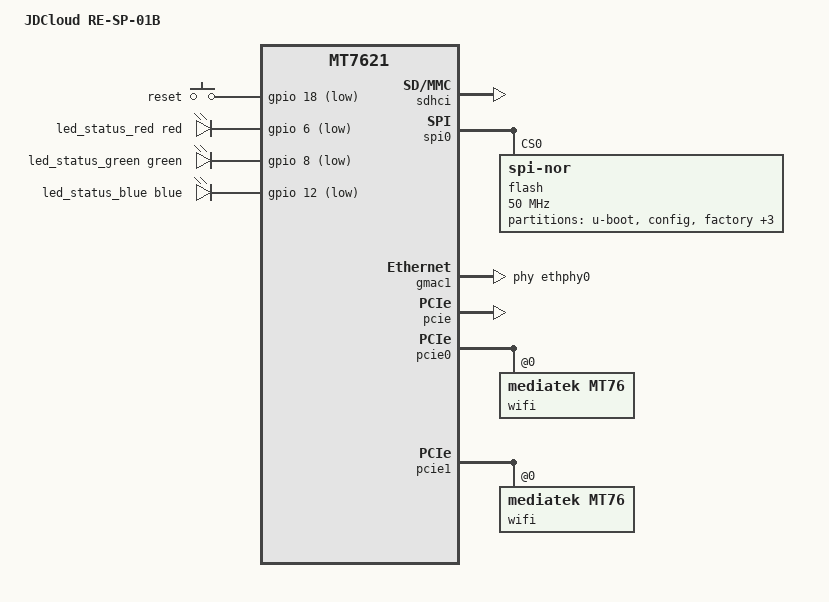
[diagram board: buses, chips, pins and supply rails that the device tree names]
// SPDX-License-Identifier: GPL-2.0-or-later OR MIT

#include "mt7621.dtsi"

#include <dt-bindings/gpio/gpio.h>
#include <dt-bindings/input/input.h>
#include <dt-bindings/leds/common.h>

/ {
	compatible = "jdcloud,re-sp-01b", "mediatek,mt7621-soc";
	model = "JDCloud RE-SP-01B";

	aliases {
		led-boot = &led_status_red;
		led-failsafe = &led_status_red;
		led-running = &led_status_green;
		led-upgrade = &led_status_blue;
	};

	chosen {
		bootargs = "console=ttyS0,115200";
	};

	keys {
		compatible = "gpio-keys";

		reset {
			label = "reset";
			gpios = <&gpio 18 GPIO_ACTIVE_LOW>;
			linux,code = <KEY_RESTART>;
		};
	};

	leds {
		compatible = "gpio-leds";

		led_status_red: led-red {
			function = LED_FUNCTION_STATUS;
			color = <LED_COLOR_ID_RED>;
			gpios = <&gpio 6 GPIO_ACTIVE_LOW>;
		};

		led_status_green: led-green {
			function = LED_FUNCTION_STATUS;
			color = <LED_COLOR_ID_GREEN>;
			gpios = <&gpio 8 GPIO_ACTIVE_LOW>;
		};

		led_status_blue: led-blue {
			function = LED_FUNCTION_STATUS;
			color = <LED_COLOR_ID_BLUE>;
			gpios = <&gpio 12 GPIO_ACTIVE_LOW>;
		};
	};
};

&sdhci {
	status = "okay";
};

&spi0 {
	status = "okay";

	flash@0 {
		compatible = "jedec,spi-nor";
		reg = <0>;
		spi-max-frequency = <50000000>;

		partitions {
			compatible = "fixed-partitions";
			#address-cells = <1>;
			#size-cells = <1>;

			partition@0 {
				label = "u-boot";
				reg = <0x0 0x30000>;
				read-only;
			};

			partition@30000 {
				label = "config";
				reg = <0x30000 0x10000>;
				read-only;
			};

			partition@40000 {
				label = "factory";
				reg = <0x40000 0x10000>;
				read-only;

				nvmem-layout {
					compatible = "fixed-layout";
					#address-cells = <1>;
					#size-cells = <1>;

					eeprom_factory_0: eeprom@0 {
						reg = <0x0 0x400>;
					};

					eeprom_factory_8000: eeprom@8000 {
						reg = <0x8000 0x4da8>;
					};
				};
			};

			partition@50000 {
				compatible = "denx,uimage";
				label = "firmware";
				reg = <0x50000 0x1ab0000>;
			};

			partition@1b00000 {
				label = "mini";
				reg = <0x1b00000 0x400000>;
				read-only;
			};

			partition@1f00000 {
				label = "oem";
				reg = <0x1f00000 0x100000>;
				read-only;
			};
		};
	};
};

&gmac1 {
	status = "okay";
	label = "wan";
	phy-handle = <&ethphy0>;
};

&ethphy0 {
	/delete-property/ interrupts;
};

&switch0 {
	ports {
		port@1 {
			status = "okay";
			label = "lan1";
		};

		port@2 {
			status = "okay";
			label = "lan2";
		};
	};
};

&pcie {
	status = "okay";
};

&pcie0 {
	wifi@0,0 {
		compatible = "mediatek,mt76";
		reg = <0x0000 0 0 0 0>;
		nvmem-cells = <&eeprom_factory_0>;
		nvmem-cell-names = "eeprom";
	};
};

&pcie1 {
	wifi@0,0 {
		compatible = "mediatek,mt76";
		reg = <0x0000 0 0 0 0>;
		nvmem-cells = <&eeprom_factory_8000>;
		nvmem-cell-names = "eeprom";
		ieee80211-freq-limit = <5000000 6000000>;
	};
};

&state_default {
	gpio {
		groups = "uart2", "uart3", "wdt";
		function = "gpio";
	};
};
